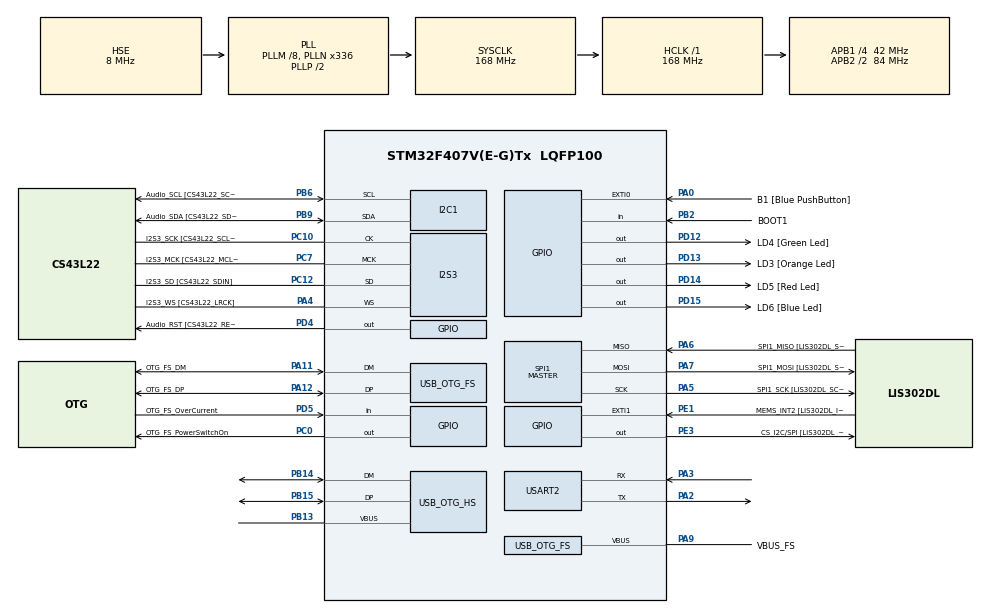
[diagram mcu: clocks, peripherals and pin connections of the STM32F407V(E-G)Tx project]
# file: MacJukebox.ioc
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Dma.Request0=SPI3_TX
Dma.SPI3_TX.0.Direction=DMA_MEMORY_TO_PERIPH
Dma.SPI3_TX.0.FIFOMode=DMA_FIFOMODE_ENABLE
Dma.SPI3_TX.0.FIFOThreshold=DMA_FIFO_THRESHOLD_HALFFULL
Dma.SPI3_TX.0.Instance=DMA1_Stream5
Dma.SPI3_TX.0.MemBurst=DMA_MBURST_SINGLE
Dma.SPI3_TX.0.MemDataAlignment=DMA_MDATAALIGN_HALFWORD
Dma.SPI3_TX.0.MemInc=DMA_MINC_ENABLE
Dma.SPI3_TX.0.Mode=DMA_CIRCULAR
Dma.SPI3_TX.0.PeriphBurst=DMA_PBURST_SINGLE
Dma.SPI3_TX.0.PeriphDataAlignment=DMA_PDATAALIGN_HALFWORD
Dma.SPI3_TX.0.PeriphInc=DMA_PINC_DISABLE
Dma.SPI3_TX.0.Priority=DMA_PRIORITY_HIGH
FREERTOS.Tasks01=defaultTask,24,1024,StartDefaultTask,Default,NULL,Static,defaultTaskBuffer,defaultTaskControlBlock
FREERTOS.configENABLE_FPU=1
I2S3.AudioFreq=I2S_AUDIOFREQ_44K
I2S3.AudioFreq-Half_Duplex_Master=I2S_AUDIOFREQ_96K
I2S3.DataFormat=I2S_DATAFORMAT_16B
I2S3.ErrorAudioFreq=0.88 %
I2S3.ErrorAudioFreq-Half_Duplex_Master=0.8 %
I2S3.FullDuplexMode=I2S_FULLDUPLEXMODE_DISABLE
I2S3.Instance=SPI$Index
I2S3.RealAudioFreq=44.389 KHz
I2S3.RealAudioFreq-Half_Duplex_Master=96.774 KHz
I2S3.VirtualMode=I2S_MODE_MASTER
Mcu.Family=STM32F4
Mcu.Name=STM32F407V(E-G)Tx
Mcu.Package=LQFP100
NVIC.DMA1_Stream5_IRQn=true\:5\:0\:false\:false\:true\:true\:false\:true
NVIC.OTG_FS_IRQn=true\:5\:0\:false\:false\:true\:true\:true\:true
NVIC.PriorityGroup=NVIC_PRIORITYGROUP_4
NVIC.TIM7_IRQn=true\:0\:0\:false\:false\:true\:false\:false\:true
NVIC.TimeBase=TIM7_IRQn
NVIC.TimeBaseIP=TIM7
NVIC.USART2_IRQn=true\:5\:0\:false\:false\:true\:true\:true\:true
PA0-WKUP.GPIO_Label=B1 [Blue PushButton]
PA0-WKUP.GPIO_ModeDefaultEXTI=GPIO_MODE_EVT_RISING
PA0-WKUP.GPIO_PuPd=GPIO_NOPULL
PA0-WKUP.Signal=GPXTI0
PA10.GPIO_Label=OTG_FS_ID
PA10.GPIO_Mode=GPIO_MODE_AF_PP
PA10.GPIO_PuPd=GPIO_NOPULL
PA10.GPIO_Speed=GPIO_SPEED_FREQ_LOW
PA10.Signal=USB_OTG_FS_ID
PA11.GPIO_Label=OTG_FS_DM
PA11.GPIO_Mode=GPIO_MODE_AF_PP
PA11.GPIO_PuPd=GPIO_NOPULL
PA11.GPIO_Speed=GPIO_SPEED_FREQ_LOW
PA11.Mode=Host_Only
PA11.Signal=USB_OTG_FS_DM
PA12.GPIO_Label=OTG_FS_DP
PA12.GPIO_Mode=GPIO_MODE_AF_PP
PA12.GPIO_PuPd=GPIO_NOPULL
PA12.GPIO_Speed=GPIO_SPEED_FREQ_LOW
PA12.Mode=Host_Only
PA12.Signal=USB_OTG_FS_DP
PA13.GPIO_Label=SWDIO
PA13.Mode=Serial_Wire
PA13.Signal=SYS_JTMS-SWDIO
PA14.GPIO_Label=SWCLK
PA14.Mode=Serial_Wire
PA14.Signal=SYS_JTCK-SWCLK
PA2.Mode=Asynchronous
PA2.Signal=USART2_TX
PA3.Mode=Asynchronous
PA3.Signal=USART2_RX
PA4.GPIO_Label=I2S3_WS [CS43L22_LRCK]
PA4.GPIO_Mode=GPIO_MODE_AF_PP
PA4.GPIO_PuPd=GPIO_NOPULL
PA4.GPIO_Speed=GPIO_SPEED_FREQ_LOW
PA4.Mode=Half_Duplex_Master
PA4.Signal=I2S3_WS
PA5.GPIO_Label=SPI1_SCK [LIS302DL_SCL/SPC]
PA5.GPIO_Mode=GPIO_MODE_AF_PP
PA5.GPIO_PuPd=GPIO_NOPULL
PA5.GPIO_Speed=GPIO_SPEED_FREQ_LOW
PA5.Mode=Full_Duplex_Master
PA5.Signal=SPI1_SCK
PA6.GPIO_Label=SPI1_MISO [LIS302DL_SDO]
PA6.GPIO_Mode=GPIO_MODE_AF_PP
PA6.GPIO_PuPd=GPIO_NOPULL
PA6.GPIO_Speed=GPIO_SPEED_FREQ_LOW
PA6.Mode=Full_Duplex_Master
PA6.Signal=SPI1_MISO
PA7.GPIO_Label=SPI1_MOSI [LIS302DL_SDA/SDI/SDO]
PA7.GPIO_Mode=GPIO_MODE_AF_PP
PA7.GPIO_PuPd=GPIO_NOPULL
PA7.GPIO_Speed=GPIO_SPEED_FREQ_LOW
PA7.Mode=Full_Duplex_Master
PA7.Signal=SPI1_MOSI
PA9.GPIO_Label=VBUS_FS
PA9.GPIO_Mode=GPIO_MODE_INPUT
PA9.GPIO_PuPd=GPIO_NOPULL
PA9.Mode=Activate_VBUS
PA9.Signal=USB_OTG_FS_VBUS
PB10.GPIO_Label=CLK_IN [MP45DT02_CLK]
PB10.GPIO_Mode=GPIO_MODE_AF_PP
PB10.GPIO_PuPd=GPIO_NOPULL
PB10.GPIO_Speed=GPIO_SPEED_FREQ_LOW
PB10.Signal=I2S2_CK
PB13.Mode=Activate_VBUS_FS
PB13.Signal=USB_OTG_HS_VBUS
PB14.Mode=Device_Only_FS
PB14.Signal=USB_OTG_HS_DM
PB15.Mode=Device_Only_FS
PB15.Signal=USB_OTG_HS_DP
PB2.GPIO_Label=BOOT1
PB2.GPIO_Mode=GPIO_MODE_INPUT
PB2.GPIO_PuPd=GPIO_NOPULL
PB2.Signal=GPIO_Input
PB3.GPIO_Label=SWO
PB3.Signal=SYS_JTDO-SWO
PB6.GPIO_Label=Audio_SCL [CS43L22_SCL]
PB6.GPIO_Mode=GPIO_MODE_AF_OD
PB6.GPIO_Pu=GPIO_PULLUP
PB6.GPIO_PuPd=GPIO_NOPULL
PB6.GPIO_Speed=GPIO_SPEED_FREQ_LOW
PB6.Mode=I2C
PB6.Signal=I2C1_SCL
PB9.GPIO_Label=Audio_SDA [CS43L22_SDA]
PB9.GPIO_Mode=GPIO_MODE_AF_OD
PB9.GPIO_Pu=GPIO_PULLUP
PB9.GPIO_PuPd=GPIO_NOPULL
PB9.GPIO_Speed=GPIO_SPEED_FREQ_LOW
PB9.Mode=I2C
PB9.Signal=I2C1_SDA
PC0.GPIO_Label=OTG_FS_PowerSwitchOn
PC0.GPIO_PuPd=GPIO_NOPULL
PC0.GPIO_Speed=GPIO_SPEED_FREQ_LOW
PC0.PinState=GPIO_PIN_SET
PC0.Signal=GPIO_Output
PC10.GPIO_Label=I2S3_SCK [CS43L22_SCLK]
PC10.GPIO_Mode=GPIO_MODE_AF_PP
PC10.GPIO_PuPd=GPIO_NOPULL
PC10.GPIO_Speed=GPIO_SPEED_FREQ_LOW
PC10.Mode=Half_Duplex_Master
PC10.Signal=I2S3_CK
PC12.GPIO_Label=I2S3_SD [CS43L22_SDIN]
PC12.GPIO_Mode=GPIO_MODE_AF_PP
PC12.GPIO_PuPd=GPIO_NOPULL
PC12.GPIO_Speed=GPIO_SPEED_FREQ_LOW
PC12.Mode=Half_Duplex_Master
PC12.Signal=I2S3_SD
PC14-OSC32_IN.GPIO_Label=PC14-OSC32_IN
PC14-OSC32_IN.Mode=LSE-External-Oscillator
PC14-OSC32_IN.Signal=RCC_OSC32_IN
PC15-OSC32_OUT.GPIO_Label=PC15-OSC32_OUT
PC15-OSC32_OUT.Mode=LSE-External-Oscillator
PC15-OSC32_OUT.Signal=RCC_OSC32_OUT
PC3.GPIO_Label=PDM_OUT [MP45DT02_DOUT]
PC3.GPIO_Mode=GPIO_MODE_AF_PP
PC3.GPIO_PuPd=GPIO_NOPULL
PC3.GPIO_Speed=GPIO_SPEED_FREQ_LOW
PC3.Signal=I2S2_SD
PC7.GPIO_Label=I2S3_MCK [CS43L22_MCLK]
PC7.GPIO_Mode=GPIO_MODE_AF_PP
PC7.GPIO_PuPd=GPIO_NOPULL
PC7.GPIO_Speed=GPIO_SPEED_FREQ_LOW
PC7.Mode=Master_Clock_Activated
PC7.Signal=I2S3_MCK
PD12.GPIO_Label=LD4 [Green Led]
PD12.GPIO_PuPd=GPIO_NOPULL
PD12.GPIO_Speed=GPIO_SPEED_FREQ_LOW
PD12.Signal=GPIO_Output
PD13.GPIO_Label=LD3 [Orange Led]
PD13.GPIO_PuPd=GPIO_NOPULL
PD13.GPIO_Speed=GPIO_SPEED_FREQ_LOW
PD13.Signal=GPIO_Output
PD14.GPIO_Label=LD5 [Red Led]
PD14.GPIO_PuPd=GPIO_NOPULL
PD14.GPIO_Speed=GPIO_SPEED_FREQ_LOW
PD14.Signal=GPIO_Output
PD15.GPIO_Label=LD6 [Blue Led]
PD15.GPIO_PuPd=GPIO_NOPULL
PD15.GPIO_Speed=GPIO_SPEED_FREQ_LOW
PD15.Signal=GPIO_Output
PD4.GPIO_Label=Audio_RST [CS43L22_RESET]
PD4.GPIO_PuPd=GPIO_NOPULL
PD4.GPIO_Speed=GPIO_SPEED_FREQ_LOW
PD4.Signal=GPIO_Output
PD5.GPIO_Label=OTG_FS_OverCurrent
PD5.GPIO_Mode=GPIO_MODE_INPUT
PD5.GPIO_PuPd=GPIO_NOPULL
PD5.Signal=GPIO_Input
PE1.GPIO_Label=MEMS_INT2 [LIS302DL_INT2]
PE1.GPIO_ModeDefaultEXTI=GPIO_MODE_EVT_RISING
PE1.GPIO_PuPd=GPIO_NOPULL
PE1.Signal=GPXTI1
PE3.GPIO_Label=CS_I2C/SPI [LIS302DL_CS_I2C/SPI]
PE3.GPIO_PuPd=GPIO_NOPULL
PE3.GPIO_Speed=GPIO_SPEED_FREQ_LOW
PE3.Signal=GPIO_Output
PH0-OSC_IN.GPIO_Label=PH0-OSC_IN
PH0-OSC_IN.Mode=HSE-External-Oscillator
PH0-OSC_IN.Signal=RCC_OSC_IN
PH1-OSC_OUT.GPIO_Label=PH1-OSC_OUT
PH1-OSC_OUT.Mode=HSE-External-Oscillator
PH1-OSC_OUT.Signal=RCC_OSC_OUT
ProjectManager.HeapSize=0x200
ProjectManager.StackSize=0x400
ProjectManager.TargetToolchain=Makefile
RCC.48MHZClocksFreq_Value=48000000
RCC.AHBFreq_Value=168000000
RCC.APB1CLKDivider=RCC_HCLK_DIV4
RCC.APB1Freq_Value=42000000
RCC.APB1TimFreq_Value=84000000
RCC.APB2CLKDivider=RCC_HCLK_DIV2
RCC.APB2Freq_Value=84000000
RCC.APB2TimFreq_Value=168000000
RCC.CortexFreq_Value=168000000
RCC.HCLKFreq_Value=168000000
RCC.HSE_VALUE=8000000
RCC.HSI_VALUE=16000000
RCC.PLLI2SN=250
RCC.PLLM=8
RCC.PLLN=336
RCC.PLLQ=7
RCC.SYSCLKFreq_VALUE=168000000
RCC.SYSCLKSource=RCC_SYSCLKSOURCE_PLLCLK
RCC.VCOOutputFreq_Value=336000000
SPI1.BaudRatePrescaler-Full_Duplex_Master=SPI_BAUDRATEPRESCALER_2
SPI1.CalculateBaudRate-Full_Duplex_Master=42.0 MBits/s
SPI1.Direction=SPI_DIRECTION_2LINES
SPI1.Mode=SPI_MODE_MASTER
SPI1.Mode-Full_Duplex_Master=SPI_MODE_MASTER
SPI1.VirtualType=VM_MASTER
USART2.VirtualMode=VM_ASYNC
USB_HOST.BSP.number=1
USB_HOST.USBH_HandleTypeDef-MSC_FS=hUsbHostFS
USB_HOST.USBH_PROCESS_STACK_SIZE-MSC_FS=1024
USB_HOST.VirtualModeFS=Msc
USB_HOST0.BSP.STBoard=false
USB_HOST0.BSP.api=Unknown
USB_HOST0.BSP.i2caddr=0
USB_HOST0.BSP.i2creg=0
USB_HOST0.BSP.instance=PC0
USB_HOST0.BSP.ip=GPIO
USB_HOST0.BSP.mode=Output
USB_HOST0.BSP.name=Drive_VBUS_FS
USB_HOST0.BSP.solution=PC0
USB_OTG_FS.VirtualMode=Host_Only
USB_OTG_FS.phy_itface=HCD_PHY_EMBEDDED
USB_OTG_HS.VirtualMode-Device_Only_FS=Device_Only_FS
VP_FATFS_VS_USB.Mode=USB
VP_FREERTOS_VS_CMSIS_V2.Mode=CMSIS_V2
VP_SYS_VS_tim7.Mode=TIM7
VP_USB_HOST_VS_USB_HOST_MSC_FS.Mode=MSC_FS
board=STM32F407G-DISC1

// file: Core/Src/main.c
/* USER CODE BEGIN Header */
/**
  ******************************************************************************
  * @file           : main.c
  * @brief          : Main program body
  ******************************************************************************
  * @attention
  *
  * <h2><center>&copy; Copyright (c) 2021 STMicroelectronics.
  * All rights reserved.</center></h2>
  *
  * This software component is licensed by ST under Ultimate Liberty license
  * SLA0044, the "License"; You may not use this file except in compliance with
  * the License. You may obtain a copy of the License at:
  *                             www.st.com/SLA0044
  *
  ******************************************************************************
  */
/* USER CODE END Header */
#include "main.h"
#include "cmsis_os.h"
#include "fatfs.h"
#include "usb_host.h"

/* USER CODE BEGIN Includes */
#include "codec.h"
#include "mp3player.h"
#include "uart_interface.h"
#include "pb_encode.h"
#include "parsers/filelist.pb.h"

/* USER CODE END Includes */

typedef StaticTask_t osStaticThreadDef_t;

I2C_HandleTypeDef hi2c1;

I2S_HandleTypeDef hi2s3;
DMA_HandleTypeDef hdma_spi3_tx;

SPI_HandleTypeDef hspi1;

UART_HandleTypeDef huart2;

/* Definitions for defaultTask */
osThreadId_t defaultTaskHandle;
uint32_t defaultTaskBuffer[ 1024 ];
osStaticThreadDef_t defaultTaskControlBlock;
const osThreadAttr_t defaultTask_attributes = {
  .name = "defaultTask",
  .stack_mem = &defaultTaskBuffer[0],
  .stack_size = sizeof(defaultTaskBuffer),
  .cb_mem = &defaultTaskControlBlock,
  .cb_size = sizeof(defaultTaskControlBlock),
  .priority = (osPriority_t) osPriorityNormal,
};

void SystemClock_Config(void);
static void MX_GPIO_Init(void);
static void MX_DMA_Init(void);
static void MX_I2C1_Init(void);
static void MX_I2S3_Init(void);
static void MX_SPI1_Init(void);
static void MX_USART2_UART_Init(void);
void StartDefaultTask(void *argument);

/* USER CODE BEGIN PFP */
bool writeListingToUART(pb_ostream_t *stream, const uint8_t *buf, size_t count);
/* USER CODE END PFP */

int main(void)
{

  /* MCU Configuration--------------------------------------------------------*/

  /* Reset of all peripherals, Initializes the Flash interface and the Systick. */
  HAL_Init();

  /* Configure the system clock */
  SystemClock_Config();

  /* Initialize all configured peripherals */
  MX_GPIO_Init();
  MX_DMA_Init();
  MX_I2C1_Init();
  MX_I2S3_Init();
  MX_SPI1_Init();
  MX_FATFS_Init();
  MX_USART2_UART_Init();

  /* Init scheduler */
  osKernelInitialize();

  /* Create the thread(s) */
  /* creation of defaultTask */
  defaultTaskHandle = osThreadNew(StartDefaultTask, NULL, &defaultTask_attributes);

  /* Start scheduler */
  osKernelStart();

  /* We should never get here as control is now taken by the scheduler */
  /* Infinite loop */
  while (1)
  {

  }
}

void SystemClock_Config(void)
{
  RCC_OscInitTypeDef RCC_OscInitStruct = {0};
  RCC_ClkInitTypeDef RCC_ClkInitStruct = {0};
  RCC_PeriphCLKInitTypeDef PeriphClkInitStruct = {0};

  /** Configure the main internal regulator output voltage
  */
  __HAL_RCC_PWR_CLK_ENABLE();
  __HAL_PWR_VOLTAGESCALING_CONFIG(PWR_REGULATOR_VOLTAGE_SCALE1);
  /** Initializes the RCC Oscillators according to the specified parameters
  * in the RCC_OscInitTypeDef structure.
  */
  RCC_OscInitStruct.OscillatorType = RCC_OSCILLATORTYPE_HSE;
  RCC_OscInitStruct.HSEState = RCC_HSE_ON;
  RCC_OscInitStruct.PLL.PLLState = RCC_PLL_ON;
  RCC_OscInitStruct.PLL.PLLSource = RCC_PLLSOURCE_HSE;
  RCC_OscInitStruct.PLL.PLLM = 8;
  RCC_OscInitStruct.PLL.PLLN = 336;
  RCC_OscInitStruct.PLL.PLLP = RCC_PLLP_DIV2;
  RCC_OscInitStruct.PLL.PLLQ = 7;
  if (HAL_RCC_OscConfig(&RCC_OscInitStruct) != HAL_OK)
  {
    Error_Handler();
  }
  /** Initializes the CPU, AHB and APB buses clocks
  */
  RCC_ClkInitStruct.ClockType = RCC_CLOCKTYPE_HCLK|RCC_CLOCKTYPE_SYSCLK
                              |RCC_CLOCKTYPE_PCLK1|RCC_CLOCKTYPE_PCLK2;
  RCC_ClkInitStruct.SYSCLKSource = RCC_SYSCLKSOURCE_PLLCLK;
  RCC_ClkInitStruct.AHBCLKDivider = RCC_SYSCLK_DIV1;
  RCC_ClkInitStruct.APB1CLKDivider = RCC_HCLK_DIV4;
  RCC_ClkInitStruct.APB2CLKDivider = RCC_HCLK_DIV2;

  if (HAL_RCC_ClockConfig(&RCC_ClkInitStruct, FLASH_LATENCY_5) != HAL_OK)
  {
    Error_Handler();
  }
  PeriphClkInitStruct.PeriphClockSelection = RCC_PERIPHCLK_I2S;
  PeriphClkInitStruct.PLLI2S.PLLI2SN = 250;
  PeriphClkInitStruct.PLLI2S.PLLI2SR = 2;
  if (HAL_RCCEx_PeriphCLKConfig(&PeriphClkInitStruct) != HAL_OK)
  {
    Error_Handler();
  }
}

static void MX_I2C1_Init(void)
{

  hi2c1.Instance = I2C1;
  hi2c1.Init.ClockSpeed = 100000;
  hi2c1.Init.DutyCycle = I2C_DUTYCYCLE_2;
  hi2c1.Init.OwnAddress1 = 0;
  hi2c1.Init.AddressingMode = I2C_ADDRESSINGMODE_7BIT;
  hi2c1.Init.DualAddressMode = I2C_DUALADDRESS_DISABLE;
  hi2c1.Init.OwnAddress2 = 0;
  hi2c1.Init.GeneralCallMode = I2C_GENERALCALL_DISABLE;
  hi2c1.Init.NoStretchMode = I2C_NOSTRETCH_DISABLE;
  if (HAL_I2C_Init(&hi2c1) != HAL_OK)
  {
    Error_Handler();
  }

}

static void MX_I2S3_Init(void)
{

  hi2s3.Instance = SPI3;
  hi2s3.Init.Mode = I2S_MODE_MASTER_TX;
  hi2s3.Init.Standard = I2S_STANDARD_PHILIPS;
  hi2s3.Init.DataFormat = I2S_DATAFORMAT_16B;
  hi2s3.Init.MCLKOutput = I2S_MCLKOUTPUT_ENABLE;
  hi2s3.Init.AudioFreq = I2S_AUDIOFREQ_44K;
  hi2s3.Init.CPOL = I2S_CPOL_LOW;
  hi2s3.Init.ClockSource = I2S_CLOCK_PLL;
  hi2s3.Init.FullDuplexMode = I2S_FULLDUPLEXMODE_DISABLE;
  if (HAL_I2S_Init(&hi2s3) != HAL_OK)
  {
    Error_Handler();
  }

}

static void MX_SPI1_Init(void)
{

  /* SPI1 parameter configuration*/
  hspi1.Instance = SPI1;
  hspi1.Init.Mode = SPI_MODE_MASTER;
  hspi1.Init.Direction = SPI_DIRECTION_2LINES;
  hspi1.Init.DataSize = SPI_DATASIZE_8BIT;
  hspi1.Init.CLKPolarity = SPI_POLARITY_LOW;
  hspi1.Init.CLKPhase = SPI_PHASE_1EDGE;
  hspi1.Init.NSS = SPI_NSS_SOFT;
  hspi1.Init.BaudRatePrescaler = SPI_BAUDRATEPRESCALER_2;
  hspi1.Init.FirstBit = SPI_FIRSTBIT_MSB;
  hspi1.Init.TIMode = SPI_TIMODE_DISABLE;
  hspi1.Init.CRCCalculation = SPI_CRCCALCULATION_DISABLE;
  hspi1.Init.CRCPolynomial = 10;
  if (HAL_SPI_Init(&hspi1) != HAL_OK)
  {
    Error_Handler();
  }

}

static void MX_USART2_UART_Init(void)
{

  huart2.Instance = USART2;
  huart2.Init.BaudRate = 9600;
  huart2.Init.WordLength = UART_WORDLENGTH_8B;
  huart2.Init.StopBits = UART_STOPBITS_1;
  huart2.Init.Parity = UART_PARITY_NONE;
  huart2.Init.Mode = UART_MODE_TX_RX;
  huart2.Init.HwFlowCtl = UART_HWCONTROL_NONE;
  huart2.Init.OverSampling = UART_OVERSAMPLING_16;
  if (HAL_UART_Init(&huart2) != HAL_OK)
  {
    Error_Handler();
  }

}

static void MX_DMA_Init(void)
{

  /* DMA controller clock enable */
  __HAL_RCC_DMA1_CLK_ENABLE();

  /* DMA interrupt init */
  /* DMA1_Stream5_IRQn interrupt configuration */
  HAL_NVIC_SetPriority(DMA1_Stream5_IRQn, 5, 0);
  HAL_NVIC_EnableIRQ(DMA1_Stream5_IRQn);

}

static void MX_GPIO_Init(void)
{
  GPIO_InitTypeDef GPIO_InitStruct = {0};

  /* GPIO Ports Clock Enable */
  __HAL_RCC_GPIOE_CLK_ENABLE();
  __HAL_RCC_GPIOC_CLK_ENABLE();
  __HAL_RCC_GPIOH_CLK_ENABLE();
  __HAL_RCC_GPIOA_CLK_ENABLE();
  __HAL_RCC_GPIOB_CLK_ENABLE();
  __HAL_RCC_GPIOD_CLK_ENABLE();

  /*Configure GPIO pin Output Level */
  HAL_GPIO_WritePin(CS_I2C_SPI_GPIO_Port, CS_I2C_SPI_Pin, GPIO_PIN_RESET);

  /*Configure GPIO pin Output Level */
  HAL_GPIO_WritePin(OTG_FS_PowerSwitchOn_GPIO_Port, OTG_FS_PowerSwitchOn_Pin, GPIO_PIN_SET);

  /*Configure GPIO pin Output Level */
  HAL_GPIO_WritePin(GPIOD, LD4_Pin|LD3_Pin|LD5_Pin|LD6_Pin
                          |Audio_RST_Pin, GPIO_PIN_RESET);

  /*Configure GPIO pin : CS_I2C_SPI_Pin */
  GPIO_InitStruct.Pin = CS_I2C_SPI_Pin;
  GPIO_InitStruct.Mode = GPIO_MODE_OUTPUT_PP;
  GPIO_InitStruct.Pull = GPIO_NOPULL;
  GPIO_InitStruct.Speed = GPIO_SPEED_FREQ_LOW;
  HAL_GPIO_Init(CS_I2C_SPI_GPIO_Port, &GPIO_InitStruct);

  /*Configure GPIO pin : OTG_FS_PowerSwitchOn_Pin */
  GPIO_InitStruct.Pin = OTG_FS_PowerSwitchOn_Pin;
  GPIO_InitStruct.Mode = GPIO_MODE_OUTPUT_PP;
  GPIO_InitStruct.Pull = GPIO_NOPULL;
  GPIO_InitStruct.Speed = GPIO_SPEED_FREQ_LOW;
  HAL_GPIO_Init(OTG_FS_PowerSwitchOn_GPIO_Port, &GPIO_InitStruct);

  /*Configure GPIO pin : PDM_OUT_Pin */
  GPIO_InitStruct.Pin = PDM_OUT_Pin;
  GPIO_InitStruct.Mode = GPIO_MODE_AF_PP;
  GPIO_InitStruct.Pull = GPIO_NOPULL;
  GPIO_InitStruct.Speed = GPIO_SPEED_FREQ_LOW;
  GPIO_InitStruct.Alternate = GPIO_AF5_SPI2;
  HAL_GPIO_Init(PDM_OUT_GPIO_Port, &GPIO_InitStruct);

  /*Configure GPIO pin : B1_Pin */
  GPIO_InitStruct.Pin = B1_Pin;
  GPIO_InitStruct.Mode = GPIO_MODE_EVT_RISING;
  GPIO_InitStruct.Pull = GPIO_NOPULL;
  HAL_GPIO_Init(B1_GPIO_Port, &GPIO_InitStruct);

  /*Configure GPIO pin : BOOT1_Pin */
  GPIO_InitStruct.Pin = BOOT1_Pin;
  GPIO_InitStruct.Mode = GPIO_MODE_INPUT;
  GPIO_InitStruct.Pull = GPIO_NOPULL;
  HAL_GPIO_Init(BOOT1_GPIO_Port, &GPIO_InitStruct);

  /*Configure GPIO pin : CLK_IN_Pin */
  GPIO_InitStruct.Pin = CLK_IN_Pin;
  GPIO_InitStruct.Mode = GPIO_MODE_AF_PP;
  GPIO_InitStruct.Pull = GPIO_NOPULL;
  GPIO_InitStruct.Speed = GPIO_SPEED_FREQ_LOW;
  GPIO_InitStruct.Alternate = GPIO_AF5_SPI2;
  HAL_GPIO_Init(CLK_IN_GPIO_Port, &GPIO_InitStruct);

  /*Configure GPIO pins : LD4_Pin LD3_Pin LD5_Pin LD6_Pin
                           Audio_RST_Pin */
  GPIO_InitStruct.Pin = LD4_Pin|LD3_Pin|LD5_Pin|LD6_Pin
                          |Audio_RST_Pin;
  GPIO_InitStruct.Mode = GPIO_MODE_OUTPUT_PP;
  GPIO_InitStruct.Pull = GPIO_NOPULL;
  GPIO_InitStruct.Speed = GPIO_SPEED_FREQ_LOW;
  HAL_GPIO_Init(GPIOD, &GPIO_InitStruct);

  /*Configure GPIO pin : OTG_FS_OverCurrent_Pin */
  GPIO_InitStruct.Pin = OTG_FS_OverCurrent_Pin;
  GPIO_InitStruct.Mode = GPIO_MODE_INPUT;
  GPIO_InitStruct.Pull = GPIO_NOPULL;
  HAL_GPIO_Init(OTG_FS_OverCurrent_GPIO_Port, &GPIO_InitStruct);

  /*Configure GPIO pin : MEMS_INT2_Pin */
  GPIO_InitStruct.Pin = MEMS_INT2_Pin;
  GPIO_InitStruct.Mode = GPIO_MODE_EVT_RISING;
  GPIO_InitStruct.Pull = GPIO_NOPULL;
  HAL_GPIO_Init(MEMS_INT2_GPIO_Port, &GPIO_InitStruct);

}

/* USER CODE BEGIN 4 */
struct MP3Player player;

bool encodeFileListing(pb_ostream_t *ostream, const pb_field_t *field, void * const *arg)
{
    const char *targetDir = (const char*)*arg;

    FILINFO info;
    DIR dir;
    FRESULT result = f_findfirst(&dir, &info, targetDir, "*.mp3");

    while (result == FR_OK && info.fname[0]) {
        FileListing_File file = {
            .Size = info.fsize
        };
        strcpy(file.Name, info.fname);

        pb_encode_tag_for_field(ostream, field);
        pb_encode_submessage(ostream, FileListing_File_fields, &file);
        result = f_findnext(&dir, &info);
    }

    f_closedir(&dir);

    return true;
}

void listFiles(void)
{
    pb_ostream_t uartStream = {
        writeListingToUART,
        NULL,
        SIZE_MAX,
        0
    };

    FileListing listing = FileListing_init_zero;
    listing.files.funcs.encode = encodeFileListing;
    listing.files.arg = "/";
    pb_encode(&uartStream, FileListing_fields, &listing);
}

bool writeListingToUART(pb_ostream_t *stream, const uint8_t *buf, size_t count)
{
    UartInterface_Write(&huart2, buf, count);

    return true;
}

void onCommand(Command* command)
{
    switch (command->id) {
        case Command_ID_PLAY_FILE:
            MP3PlayerPlayFile(&player, (const char*)command->data.bytes);
            break;
        case Command_ID_PAUSE:
            MP3PlayerPause(&player);
            break;
        case Command_ID_LIST_FILES:
            osThreadFlagsSet (defaultTaskHandle, 2);
            break;
        default:
            break;
    }
}

/* USER CODE END 4 */

void StartDefaultTask(void *argument)
{
  /* init code for USB_HOST */
  MX_USB_HOST_Init();
  /* USER CODE BEGIN 5 */
  struct Codec codec;

  codec.i2c = &hi2c1;
  codec.i2s = &hi2s3;

  CodecInit (CS43L22, &codec);

  osThreadFlagsWait(1, osFlagsWaitAny, 60000);

  f_mount (&USBHFatFS, USBHPath, 1);

  UartInterface_Init(&huart2);
  UartInterface_OnCommand(onCommand);

  player.task = defaultTaskHandle;
  player.codec = &codec;
  MP3PlayerInit(&player);

  /* Infinite loop */
  for(;;)
  {
      uint32_t flags = osThreadFlagsWait(2, osFlagsWaitAny, 60000);

      if (flags == 2)
      {
          listFiles();
      }
  }
  /* USER CODE END 5 */
}

 /**
  * @brief  Period elapsed callback in non blocking mode
  * @note   This function is called  when TIM7 interrupt took place, inside
  * HAL_TIM_IRQHandler(). It makes a direct call to HAL_IncTick() to increment
  * a global variable "uwTick" used as application time base.
  * @param  htim : TIM handle
  * @retval None
  */
void HAL_TIM_PeriodElapsedCallback(TIM_HandleTypeDef *htim)
{
  if (htim->Instance == TIM7) {
    HAL_IncTick();
  }
}

void Error_Handler(void)
{
  __disable_irq();
  while (1)
  {
  }
}

/************************ (C) COPYRIGHT STMicroelectronics *****END OF FILE****/
